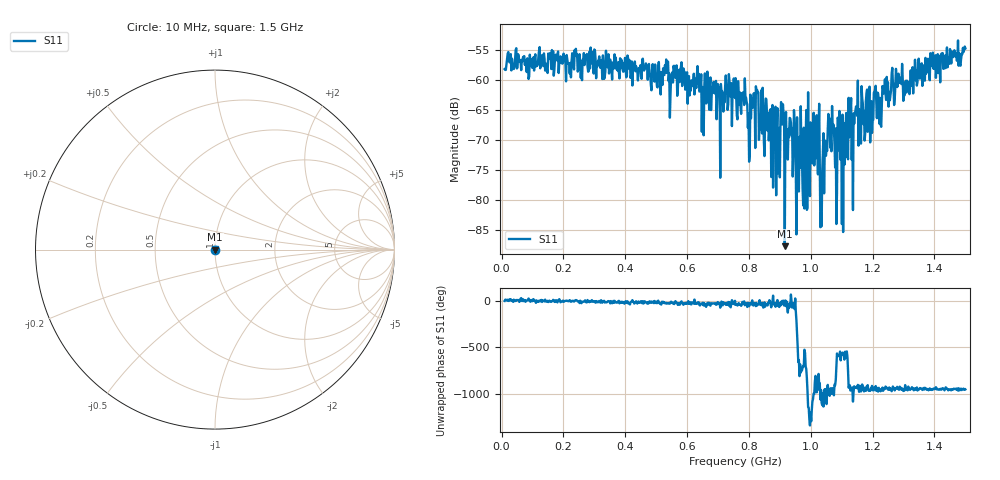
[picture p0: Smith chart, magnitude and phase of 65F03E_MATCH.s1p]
# Hz S RI R 50.000000
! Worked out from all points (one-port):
!   751 points, 10 MHz to 1.5 GHz, reference 50 ohm
!   lowest |S11| = -87.7 dB at 915.9 MHz (marker M1), VSWR 1.00, Z = 50 - j0.00143 ohm
!   |S11| at or under -10 dB: start of sweep to end of sweep
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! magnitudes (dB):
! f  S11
! 10 MHz  -58.2
! 196.7 MHz  -57.3
! 383.5 MHz  -56.4
! 570.2 MHz  -61.5
! 631.8 MHz  -59.2
! 647.7 MHz  -68.6
! 687.5 MHz  -61.0
! 701.4 MHz  -61.4
! 755 MHz  -63.0
! 786.8 MHz  -59.7
! 800.7 MHz  -73.6
! 824.5 MHz  -62.0
! 894.1 MHz  -75.6
! 908 MHz  -67.4
! 915.9 MHz  -87.7
! 941.7 MHz  -76.1
! 957.6 MHz  -77.0
! 1.023 GHz  -75.8
! 1.037 GHz  -75.2
! 1.063 GHz  -71.3
! 1.075 GHz  -68.3
! 1.079 GHz  -74.6
! 1.093 GHz  -65.2
! 1.103 GHz  -65.8
! 1.128 GHz  -65.5
! 1.13 GHz  -63.0
! 1.315 GHz  -61.5
! 1.5 GHz  -54.7
